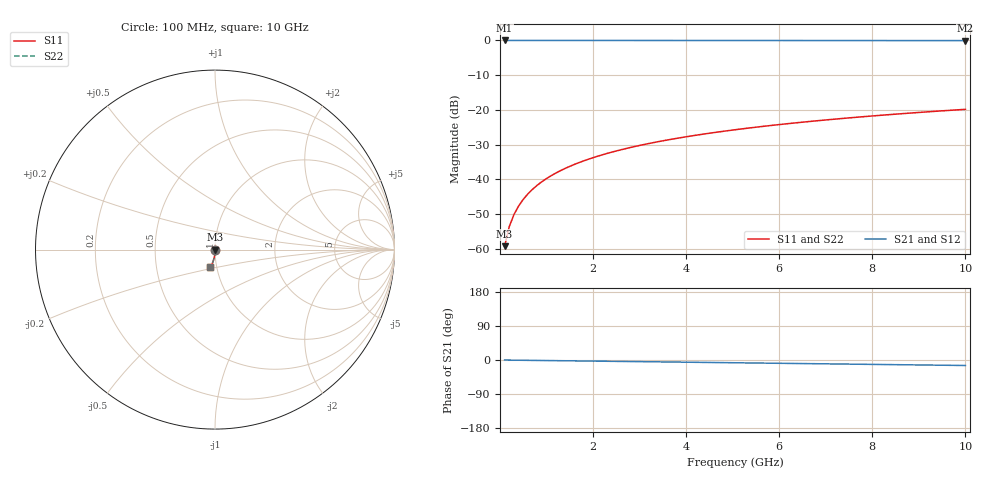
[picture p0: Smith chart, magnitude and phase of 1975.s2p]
# Hz S RI R 50.00
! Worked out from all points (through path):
!   100 points, 100 MHz to 10 GHz, reference 50 ohm
!   highest |S21| = 0.00 dB at 100 MHz (marker M1); lowest = -0.1 dB at 10 GHz (marker M2)
!   group delay of S21, straight-line fit = 4.03 ps
!   lowest |S11| = -59.3 dB at 100 MHz (marker M3), VSWR 1.00, Z = 50 - j0.102 ohm
!   |S11| at or under -10 dB: start of sweep to end of sweep
!   |S22| runs from -59.3 to -19.9 dB; largest |S21 - S12| = 0
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1e8  0.000364 -0.00102  0.9996 -0.00252  0.9996 -0.00252  0.000364 -0.00102
2e8  0.000357 -0.00205  0.9996 -0.00504  0.9996 -0.00504  0.000357 -0.00205
3e8  0.000344 -0.00307  0.9996 -0.00755  0.9996 -0.00755  0.000344 -0.00307
4e8  0.000326 -0.00409  0.9996 -0.0101  0.9996 -0.0101  0.000326 -0.00409
5e8  0.000302 -0.00511  0.9995 -0.0126  0.9995 -0.0126  0.000302 -0.00511
6e8  0.000274 -0.00614  0.9995 -0.0151  0.9995 -0.0151  0.000274 -0.00614
7e8  0.000239 -0.00716  0.9994 -0.0176  0.9994 -0.0176  0.000239 -0.00716
8e8  0.0002 -0.00818  0.9994 -0.0201  0.9994 -0.0201  0.0002 -0.00818
9e8  0.000156 -0.00921  0.9993 -0.0227  0.9993 -0.0227  0.000156 -0.00921
1.1e9  5.08e-05 -0.0113  0.9992 -0.0277  0.9992 -0.0277  5.08e-05 -0.0113
1.4e9  -0.000145 -0.0143  0.9989 -0.0352  0.9989 -0.0352  -0.000145 -0.0143
1.8e9  -0.000479 -0.0184  0.9984 -0.0453  0.9984 -0.0453  -0.000479 -0.0184
2.1e9  -0.000784 -0.0215  0.9979 -0.0529  0.9979 -0.0529  -0.000784 -0.0215
2.5e9  -0.00126 -0.0255  0.9973 -0.0629  0.9973 -0.0629  -0.00126 -0.0255
2.9e9  -0.00182 -0.0296  0.9964 -0.073  0.9964 -0.073  -0.00182 -0.0296
3.4e9  -0.00264 -0.0347  0.9953 -0.0855  0.9953 -0.0855  -0.00264 -0.0347
4.2e9  -0.00422 -0.0428  0.993 -0.1056  0.993 -0.1056  -0.00422 -0.0428
5.1e9  -0.00638 -0.0518  0.9899 -0.1281  0.9899 -0.1281  -0.00638 -0.0518
5.9e9  -0.00865 -0.0597  0.9866 -0.1481  0.9866 -0.1481  -0.00865 -0.0597
6.7e9  -0.0112 -0.0675  0.9829 -0.168  0.9829 -0.168  -0.0112 -0.0675
8.4e9  -0.0178 -0.0838  0.9734 -0.2099  0.9734 -0.2099  -0.0178 -0.0838
1e10  -0.0252 -0.0986  0.9626 -0.2488  0.9626 -0.2488  -0.0252 -0.0986
